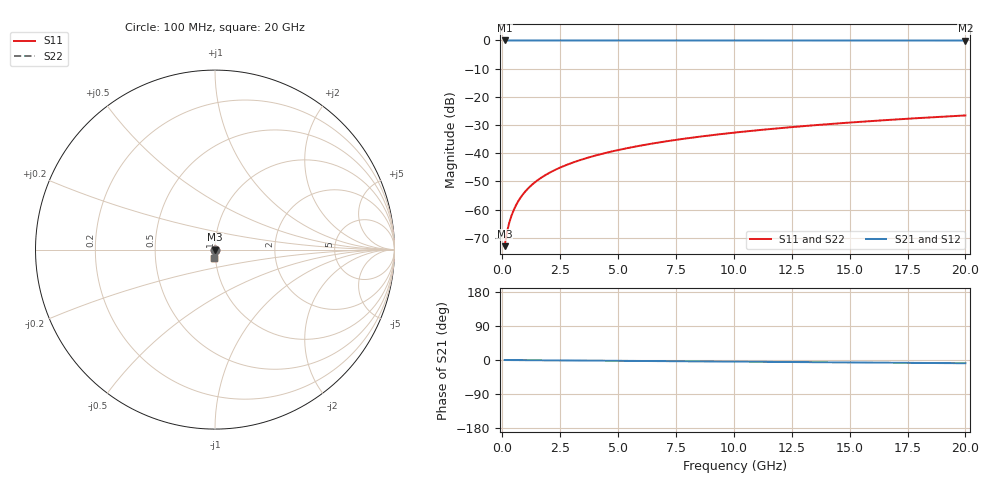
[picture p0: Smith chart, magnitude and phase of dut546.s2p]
! Touchstone file exported from HFSS 2026.1.0
!  File:  C:/ffzhzh/LocalFiles/Ansys_Project_Files/temp_train_TSV_546_1783024169_53980.aedt
!  Generated:  04:31:23 AM Jul  3, 2026
!  Design:  TSV
!  Project:  temp_train_TSV_546_1783024169_53980
! Variables:
!  h_bsmrdl = 2um
!  h_ox = 20um
!  h_rdl = 5um
!  h_sub = 86.25um
!  h_tmrdl = 5um
!  h_tsv = 86.25um
!  h_via = 3um
!  l_bsmrdl = 300um
!  l_sub = 421.04um
!  l_tmrdl = 200um
!  m_sub = 200um
!  pitch = 31.87um
!  r_tsv = 10.52um
!  s_tmrdl = 10um
!  w_bsmrdl = 18um
!  w_sub = 500um
!  w_tmrdl = 12um
!  x_tsv_center1 = 206um
!  x_tsv_center2 = 524um
!  x_tsv_center3 = 736um
!  x_tsv_center4 = 1054um
!  x_tsv_center5 = 1266um
!  x_tsv_center6 = 1584um
# GHz S MA R 50.000000
! Terminal data exported
! Port[1] = TSV1_1_T1
! Port[2] = TSV1_1_T2
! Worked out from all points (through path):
!   200 points, 100 MHz to 20 GHz, reference 50 ohm
!   highest |S21| = 0.00 dB at 100 MHz (marker M1); lowest = 0.0 dB at 20 GHz (marker M2)
!   group delay of S21, straight-line fit = 1.19 ps
!   lowest |S11| = -72.9 dB at 100 MHz (marker M3), VSWR 1.00, Z = 50 - j0.0181 ohm
!   |S11| at or under -10 dB: start of sweep to end of sweep
!   |S22| runs from -72.9 to -26.6 dB; largest |S21 - S12| = 3.6e-15
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0.1  0.0002253 -53.6  0.9999 -0.0  0.9999 -0.0  0.0002253 -53.6
! Gamma 0 0 0 0
! Port Impedance 50 0 50 0
0.2  0.0003964 -67.8  0.9998 -0.1  0.9998 -0.1  0.0003964 -67.8
0.3  0.0005863 -72.8  0.9998 -0.1  0.9998 -0.1  0.0005863 -72.8
0.4  0.0007876 -75.2  0.9998 -0.2  0.9998 -0.2  0.0007876 -75.2
0.5  0.0009977 -76.7  0.9998 -0.2  0.9998 -0.2  0.0009977 -76.7
0.7  0.001436 -78.7  0.9997 -0.3  0.9997 -0.3  0.001436 -78.7
0.8  0.001662 -79.5  0.9997 -0.4  0.9997 -0.4  0.001662 -79.5
1  0.002118 -80.8  0.9996 -0.4  0.9996 -0.4  0.002118 -80.8
1.2  0.002578 -81.8  0.9996 -0.5  0.9996 -0.5  0.002578 -81.8
1.4  0.003039 -82.7  0.9996 -0.6  0.9996 -0.6  0.003039 -82.7
1.7  0.003731 -83.8  0.9995 -0.7  0.9995 -0.7  0.003731 -83.8
2  0.004423 -84.6  0.9995 -0.9  0.9995 -0.9  0.004423 -84.6
2.7  0.006039 -86.0  0.9994 -1.2  0.9994 -1.2  0.006039 -86.0
3.5  0.007892 -87.1  0.9994 -1.5  0.9994 -1.5  0.007892 -87.1
4.2  0.009521 -87.8  0.9993 -1.8  0.9993 -1.8  0.009521 -87.8
5  0.01139 -88.5  0.9992 -2.2  0.9992 -2.2  0.01139 -88.5
6.8  0.01562 -89.7  0.999 -2.9  0.999 -2.9  0.01562 -89.7
8.3  0.01916 -90.7  0.9989 -3.6  0.9989 -3.6  0.01916 -90.7
10.1  0.02342 -91.7  0.9987 -4.3  0.9987 -4.3  0.02342 -91.7
13.4  0.03122 -93.5  0.9983 -5.7  0.9983 -5.7  0.03122 -93.5
16.7  0.03903 -95.2  0.9979 -7.1  0.9979 -7.1  0.03903 -95.2
20  0.04683 -96.7  0.9974 -8.6  0.9974 -8.6  0.04683 -96.7
